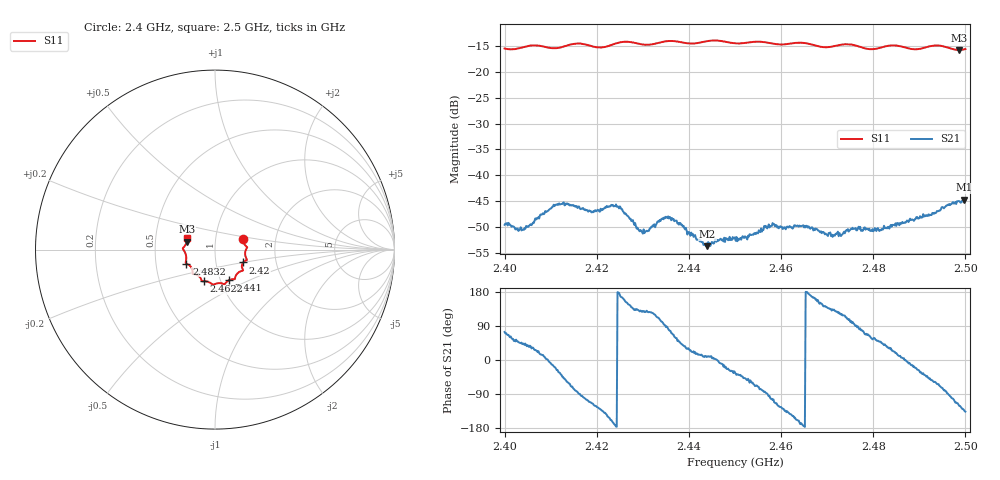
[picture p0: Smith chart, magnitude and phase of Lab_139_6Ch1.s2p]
# Hz S RI R 50
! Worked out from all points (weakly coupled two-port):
!   601 points, 2.4 GHz to 2.5 GHz, reference 50 ohm
!   highest |S21| = -44.72 dB at 2.4997 GHz (marker M1); lowest = -53.7 dB at 2.444 GHz (marker M2)
!   lowest |S11| = -15.8 dB at 2.4987 GHz (marker M3), VSWR 1.39, Z = 36.4 + j3.35 ohm
!   |S11| at or under -10 dB: start of sweep to end of sweep
!   S12 and S22 are empty: the file has one direction only
!   S11 on the Smith chart (normalised r, x): 2.4 GHz: 1.36, +0.17; 2.42 GHz: 1.36, -0.20; 2.441 GHz: 1.09, -0.39; 2.4622 GHz: 0.83, -0.30; 2.4832 GHz: 0.72, -0.12; 2.5 GHz: 0.73, +0.09
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2.4e9  0.1567 0.0596  0.000922 0.0032  0 0  0 0
2.404167e9  0.1725 0.019  0.00217 0.00203  0 0  0 0
2.412333e9  0.1693 -0.0345  0.0041 -0.00334  0 0  0 0
2.416667e9  0.1773 -0.0582  -0.000408 -0.00476  0 0  0 0
2.42e9  0.157 -0.0713  -0.00254 -0.00376  0 0  0 0
2.424667e9  0.155 -0.111  -0.00497 0.00015  0 0  0 0
2.429833e9  0.1355 -0.124  -0.00172 0.00226  0 0  0 0
2.433333e9  0.113 -0.1524  -0.00133 0.00333  0 0  0 0
2.436e9  0.1106 -0.1647  0.000899 0.00379  0 0  0 0
2.441e9  0.0766 -0.1711  0.00235 0.000988  0 0  0 0
2.444e9  0.057 -0.1892  0.00204 0.00032  0 0  0 0
2.45e9  0.0261 -0.1865  0.00212 -0.00136  0 0  0 0
2.457833e9  -0.0243 -0.1865  -0.000718 -0.00316  0 0  0 0
2.462167e9  -0.0632 -0.1767  -0.00253 -0.00186  0 0  0 0
2.466667e9  -0.0767 -0.1665  -0.00306 0.000715  0 0  0 0
2.471333e9  -0.1098 -0.1378  -0.00176 0.00198  0 0  0 0
2.475667e9  -0.1252 -0.1317  -0.000352 0.00301  0 0  0 0
2.483167e9  -0.1597 -0.0783  0.00264 0.00176  0 0  0 0
2.483333e9  -0.1605 -0.0779  0.00272 0.00163  0 0  0 0
2.498667e9  -0.156 0.0449  -0.0029 -0.00482  0 0  0 0
2.499667e9  -0.1537 0.0585  -0.00387 -0.00433  0 0  0 0
2.5e9  -0.1535 0.0629  -0.00413 -0.00397  0 0  0 0
